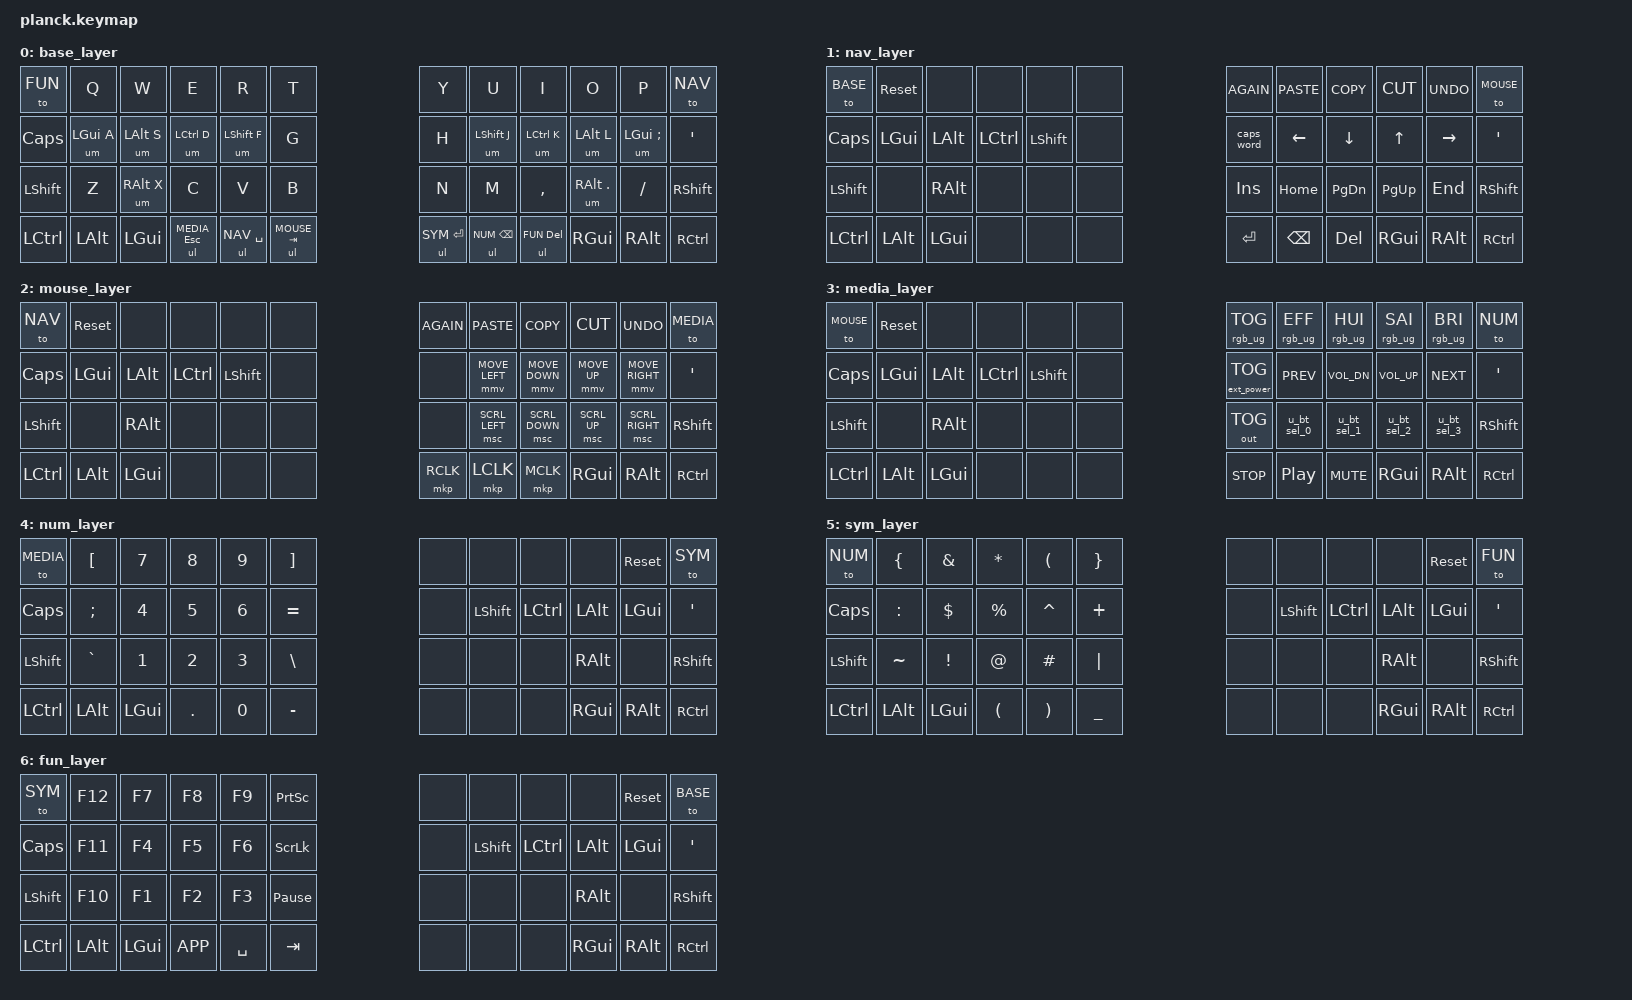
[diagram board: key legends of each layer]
/*
 * SPDX-License-Identifier: MIT
 */

#include <behaviors.dtsi>
#include <dt-bindings/zmk/keys.h>
#include <dt-bindings/zmk/bt.h>
#include <dt-bindings/zmk/rgb.h>
#include <dt-bindings/zmk/outputs.h>
#include <dt-bindings/zmk/ext_power.h>

#include "include/layers.h"
#include "include/macros.dtsi"
#include "include/behaviors.dtsi"

#define ZMK_POINTING_DEFAULT_MOVE_VAL 1250
#define ZMK_POINTING_DEFAULT_SCRL_VAL 100

#define U_MOUSE_MOVE_EXPONENT 1
#define U_MOUSE_MOVE_TIME 1500
#define U_MOUSE_MOVE_DELAY 0

&mmv {
    acceleration-exponent = <U_MOUSE_MOVE_EXPONENT>;
    time-to-max-speed-ms = <U_MOUSE_MOVE_TIME>;
    delay-ms = <U_MOUSE_MOVE_DELAY>;
};

#include <dt-bindings/zmk/pointing.h>

/ {
    keymap {
        compatible = "zmk,keymap";

        base_layer {
            bindings = < 
&to FUN    &kp Q       &kp W       &kp E        &kp R        &kp T            &kp Y              &kp U            &kp I            &kp O            &kp P            &to NAV
&kp CAPS   &um LGUI A  &um LALT S  &um LCTRL D  &um LSHFT F  &kp G            &kp H              &um LSHFT J      &um LCTRL K      &um LALT L       &um LGUI SEMI    &kp SQT
&kp LSHFT  &kp Z       &um RALT X  &kp C        &kp V        &kp B            &kp N              &kp M            &kp COMMA        &um RALT DOT     &kp SLASH        &kp RSHFT
&kp LCTRL  &kp LALT    &kp LGUI    &ul MEDIA ESC &ul NAV SPACE &ul MOUSE TAB  &ul SYM RET        &ul NUM BSPC     &ul FUN DEL      &kp RGUI         &kp RALT         &kp RCTRL
            >;
        };

        nav_layer {
            bindings = <
&to BASE   &sys_reset  &none       &none        &none        &none            &kp K_AGAIN        &kp K_PASTE      &kp K_COPY       &kp K_CUT        &kp K_UNDO       &to MOUSE
&kp CAPS   &kp LGUI    &kp LALT    &kp LCTRL    &kp LSHFT    &none            &caps_word         &kp LEFT         &kp DOWN         &kp UP           &kp RIGHT        &kp SQT
&kp LSHFT  &none       &kp RALT    &none        &none        &none            &kp INS            &kp HOME         &kp PG_DN        &kp PG_UP        &kp END          &kp RSHFT
&kp LCTRL  &kp LALT    &kp LGUI    &none        &none        &none            &kp RET            &kp BSPC         &kp DEL          &kp RGUI         &kp RALT         &kp RCTRL
            >;
        };

        mouse_layer {
            bindings = <
&to NAV    &sys_reset  &none       &none        &none        &none            &kp K_AGAIN        &kp K_PASTE      &kp K_COPY       &kp K_CUT        &kp K_UNDO       &to MEDIA
&kp CAPS   &kp LGUI    &kp LALT    &kp LCTRL    &kp LSHFT    &none            &none              &mmv MOVE_LEFT   &mmv MOVE_DOWN   &mmv MOVE_UP     &mmv MOVE_RIGHT  &kp SQT
&kp LSHFT  &none       &kp RALT    &none        &none        &none            &none              &msc SCRL_LEFT   &msc SCRL_DOWN   &msc SCRL_UP     &msc SCRL_RIGHT  &kp RSHFT
&kp LCTRL  &kp LALT    &kp LGUI    &none        &none        &none            &mkp RCLK          &mkp LCLK        &mkp MCLK        &kp RGUI         &kp RALT         &kp RCTRL
            >;
        };

        media_layer {
            bindings = <
&to MOUSE  &sys_reset  &none       &none        &none        &none            &rgb_ug RGB_TOG    &rgb_ug RGB_EFF  &rgb_ug RGB_HUI  &rgb_ug RGB_SAI  &rgb_ug RGB_BRI  &to NUM
&kp CAPS   &kp LGUI    &kp LALT    &kp LCTRL    &kp LSHFT    &none            &ext_power EP_TOG  &kp C_PREV       &kp C_VOL_DN     &kp C_VOL_UP     &kp C_NEXT       &kp SQT
&kp LSHFT  &none       &kp RALT    &none        &none        &none            &out OUT_TOG       &u_bt_sel_0      &u_bt_sel_1      &u_bt_sel_2      &u_bt_sel_3      &kp RSHFT
&kp LCTRL  &kp LALT    &kp LGUI    &none        &none        &none            &kp C_STOP         &kp C_PP         &kp C_MUTE       &kp RGUI         &kp RALT         &kp RCTRL
            >;
        };

        num_layer {
            bindings = <
&to MEDIA  &kp LBKT    &kp N7      &kp N8       &kp N9       &kp RBKT         &none              &none            &none            &none            &sys_reset       &to SYM
&kp CAPS   &kp SEMI    &kp N4      &kp N5       &kp N6       &kp EQUAL        &none              &kp LSHFT        &kp LCTRL        &kp LALT         &kp LGUI         &kp SQT
&kp LSHFT  &kp GRAVE   &kp N1      &kp N2       &kp N3       &kp BSLH         &none              &none            &none            &kp RALT         &none            &kp RSHFT
&kp LCTRL  &kp LALT    &kp LGUI    &kp DOT      &kp N0       &kp MINUS        &none              &none            &none            &kp RGUI         &kp RALT         &kp RCTRL
            >;
        };

        sym_layer {
            bindings = <
&to NUM    &kp LBRC    &kp AMPS    &kp ASTRK    &kp LPAR     &kp RBRC         &none              &none            &none            &none            &sys_reset       &to FUN
&kp CAPS   &kp COLON   &kp DLLR    &kp PRCNT    &kp CARET    &kp PLUS         &none              &kp LSHFT        &kp LCTRL        &kp LALT         &kp LGUI         &kp SQT
&kp LSHFT  &kp TILDE   &kp EXCL    &kp AT       &kp HASH     &kp PIPE         &none              &none            &none            &kp RALT         &none            &kp RSHFT
&kp LCTRL  &kp LALT    &kp LGUI    &kp LPAR     &kp RPAR     &kp UNDER        &none              &none            &none            &kp RGUI         &kp RALT         &kp RCTRL
            >;
        };

        fun_layer {
            bindings = <
&to SYM    &kp F12     &kp F7      &kp F8       &kp F9       &kp PSCRN        &none              &none            &none            &none            &sys_reset       &to BASE
&kp CAPS   &kp F11     &kp F4      &kp F5       &kp F6       &kp SLCK         &none              &kp LSHFT        &kp LCTRL        &kp LALT         &kp LGUI         &kp SQT
&kp LSHFT  &kp F10     &kp F1      &kp F2       &kp F3       &kp PAUSE_BREAK  &none              &none            &none            &kp RALT         &none            &kp RSHFT
&kp LCTRL  &kp LALT    &kp LGUI    &kp K_APP    &kp SPC      &kp TAB          &none              &none            &none            &kp RGUI         &kp RALT         &kp RCTRL
            >;
        };
    };
};
